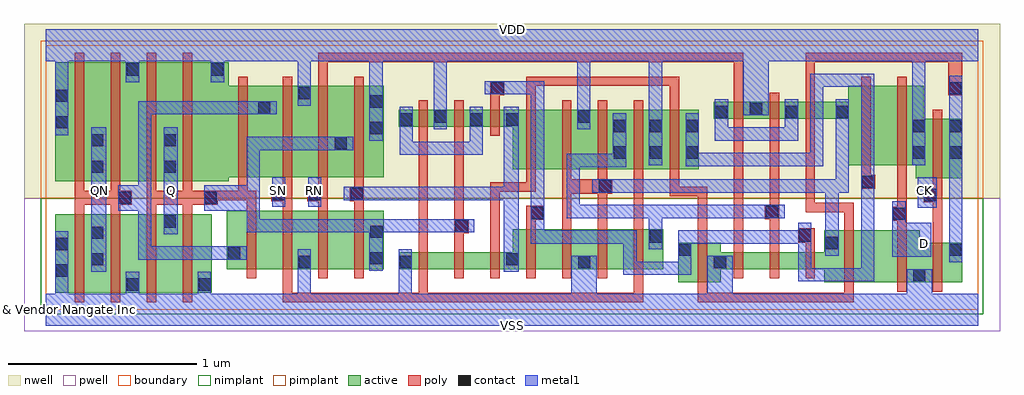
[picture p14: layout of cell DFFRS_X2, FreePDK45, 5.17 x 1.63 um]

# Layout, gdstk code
import gdstk
lib = gdstk.Library(unit=1e-6, precision=1e-10)
def R(c, l, rs):  # rectangles x0, y0, x1, y1
    for r in rs: c.add(gdstk.rectangle(r[:2], r[2:], *l))
def A(c, l, x, y, w, h, nx, ny, dx, dy):  # array of equal rectangles
    R(c, l, [(x+i*dx, y+j*dy, x+i*dx+w, y+j*dy+h) for i in range(nx) for j in range(ny)])
def P(c, l, *ps):  # polygons
    for p in ps: c.add(gdstk.Polygon(p, *l))
active = (1, 0)
pwell = (2, 0)
nwell = (3, 0)
nimplant = (4, 0)
pimplant = (5, 0)
poly = (9, 0)
contact = (10, 0)
metal1 = (11, 0)
boundary = (235, 0)

dffrs_x2 = lib.new_cell('DFFRS_X2')
R(dffrs_x2, active, [(0.05,0.09,0.88,0.505), (0.96,0.215,1.79,0.525)])
P(dffrs_x2, active, [(0.05,0.68),(0.97,0.68),(0.97,0.7),(1.79,0.7),(1.79,1.185),(0.97,1.185),(0.97,1.31),(0.05,1.31)],
  [(1.87,0.215),(3.27,0.215),(3.27,0.425),(2.475,0.425),(2.475,0.305),(1.87,0.305)],
  [(1.87,0.97),(2.475,0.97),(2.475,0.745),(3.46,0.745),(3.46,1.06),(1.87,1.06)],
  [(3.35,0.145),(3.575,0.145),(3.575,0.215),(4.125,0.215),(4.125,0.145),(4.855,0.145),(4.855,0.355),(4.63,0.355),(4.63,0.42),(4.125,0.42),(4.125,0.305),(3.575,0.305),(3.575,0.355),(3.35,0.355)],
  [(3.54,1.01),(4.25,1.01),(4.25,0.765),(4.61,0.765),(4.61,0.695),(4.855,0.695),(4.855,1.01),(4.65,1.01),(4.65,1.185),(4.25,1.185),(4.25,1.1),(3.54,1.1)])
R(dffrs_x2, pwell, [(-0.115,-0.115,5.055,0.59)])
R(dffrs_x2, nwell, [(-0.115,0.59,5.055,1.515)])
R(dffrs_x2, nimplant, [(-0.025,-0.025,4.965,0.59)])
R(dffrs_x2, pimplant, [(-0.025,0.59,4.965,1.425)])
P(dffrs_x2, poly, [(0.155,0.04),(0.205,0.04),(0.205,0.555),(0.345,0.555),(0.345,0.04),(0.395,0.04),(0.395,0.555),(0.455,0.555),(0.455,0.63),(0.395,0.63),(0.395,1.36),(0.345,1.36),(0.345,0.63),(0.205,0.63),(0.205,1.36),(0.155,1.36)],
  [(0.535,0.04),(0.585,0.04),(0.585,0.555),(0.725,0.555),(0.725,0.04),(0.775,0.04),(0.775,0.555),(0.91,0.555),(0.91,0.58),(1.065,0.58),(1.065,0.165),(1.115,0.165),(1.115,0.63),(1.07,0.63),(1.07,1.235),(1.02,1.235),(1.02,0.63),(0.775,0.63),(0.775,1.36),(0.725,1.36),(0.725,0.63),(0.585,0.63),(0.585,1.36),(0.535,1.36)],
  [(1.61,0.575),(1.635,0.575),(1.635,0.165),(1.685,0.165),(1.685,1.235),(1.635,1.235),(1.635,0.65),(1.61,0.65)],
  [(2.165,0.165),(2.215,0.165),(2.215,0.405),(2.24,0.405),(2.24,0.48),(2.215,0.48),(2.215,1.11),(2.165,1.11)],
  [(2.355,0.92),(2.405,0.92),(2.405,1.135),(2.43,1.135),(2.43,1.21),(2.355,1.21)],
  [(2.545,0.165),(2.595,0.165),(2.595,0.475),(2.64,0.475),(2.64,0.55),(2.545,0.55)],
  [(2.735,0.165),(2.785,0.165),(2.785,0.615),(2.925,0.615),(2.925,0.165),(2.975,0.165),(2.975,0.615),(3,0.615),(3,0.69),(2.975,0.69),(2.975,1.11),(2.925,1.11),(2.925,0.69),(2.785,0.69),(2.785,1.11),(2.735,1.11)],
  [(1.195,0.575),(1.255,0.575),(1.255,0.04),(3.165,0.04),(3.165,1.11),(3.115,1.11),(3.115,0.09),(2.025,0.09),(2.025,1.11),(1.975,1.11),(1.975,0.09),(1.305,0.09),(1.305,1.235),(1.255,1.235),(1.255,0.65),(1.195,0.65)],
  [(1.385,0.575),(1.445,0.575),(1.445,0.165),(1.495,0.165),(1.495,1.31),(3.645,1.31),(3.645,0.165),(3.695,0.165),(3.695,1.36),(1.445,1.36),(1.445,0.65),(1.385,0.65)],
  [(3.81,0.48),(3.835,0.48),(3.835,0.165),(3.885,0.165),(3.885,1.15),(3.835,1.15),(3.835,0.555),(3.81,0.555)],
  [(3.985,0.355),(4.025,0.355),(4.025,0.165),(4.075,0.165),(4.075,0.43),(3.985,0.43)],
  [(4.32,0.64),(4.395,0.64),(4.395,0.715),(4.37,0.715),(4.37,1.235),(4.32,1.235)],
  [(4.485,0.47),(4.51,0.47),(4.51,0.095),(4.56,0.095),(4.56,1.235),(4.51,1.235),(4.51,0.545),(4.485,0.545)],
  [(4.65,0.57),(4.7,0.57),(4.7,0.095),(4.75,0.095),(4.75,1.06),(4.7,1.06),(4.7,0.645),(4.65,0.645)],
  [(4.075,1.31),(4.78,1.31),(4.78,1.135),(4.855,1.135),(4.855,1.36),(4.025,1.36),(4.025,0.515),(4.23,0.515),(4.23,0.09),(3.505,0.09),(3.505,0.65),(3.355,0.65),(3.355,1.235),(2.545,1.235),(2.545,0.675),(2.355,0.675),(2.355,0.165),(2.405,0.165),(2.405,0.625),(2.595,0.625),(2.595,1.185),(3.305,1.185),(3.305,0.6),(3.455,0.6),(3.455,0.04),(4.28,0.04),(4.28,0.565),(4.075,0.565)])
A(dffrs_x2, contact, 3.01, 0.8, 0.065, 0.065, 3, 2, 0.19, 0.14)
R(dffrs_x2, contact, [(0.43,0.1,0.495,0.165), (0.81,0.1,0.875,0.165), (4.595,0.15,4.66,0.215), (0.055,0.175,0.12,0.24), (1.34,0.22,1.405,0.285), (1.875,0.22,1.94,0.285), (2.82,0.22,2.885,0.285), (3.54,0.22,3.605,0.285), (0.24,0.235,0.305,0.3), (2.44,0.235,2.505,0.3), (1.72,0.24,1.785,0.305), (0.965,0.265,1.03,0.33), (3.355,0.285,3.42,0.35), (4.785,0.285,4.85,0.35), (0.055,0.315,0.12,0.38), (4.13,0.32,4.195,0.385), (3.2,0.355,3.265,0.42), (3.99,0.36,4.055,0.425), (0.24,0.375,0.305,0.44), (1.72,0.38,1.785,0.445), (2.17,0.41,2.235,0.475), (0.625,0.435,0.69,0.5), (4.49,0.475,4.555,0.54), (2.57,0.48,2.635,0.545), (3.815,0.485,3.88,0.55), (0.385,0.56,0.45,0.625), (0.84,0.56,0.905,0.625), (4.655,0.575,4.72,0.64), (1.2,0.58,1.265,0.645), (1.39,0.58,1.455,0.645), (1.615,0.58,1.68,0.645), (2.93,0.62,2.995,0.685), (4.325,0.645,4.39,0.71), (0.24,0.725,0.305,0.79), (0.625,0.725,0.69,0.79), (4.595,0.8,4.66,0.865), (4.785,0.8,4.85,0.865), (1.53,0.85,1.595,0.915), (0.24,0.865,0.305,0.93), (0.625,0.865,0.69,0.93), (1.72,0.93,1.785,0.995), (4.595,0.94,4.66,1.005), (4.785,0.94,4.85,1.005), (0.055,0.96,0.12,1.025), (1.875,0.975,1.94,1.04), (2.25,0.975,2.315,1.04), (2.44,0.975,2.505,1.04), (2.06,0.99,2.125,1.055), (2.82,0.99,2.885,1.055), (3.545,1.015,3.61,1.08), (3.92,1.015,3.985,1.08), (4.185,1.015,4.25,1.08), (3.73,1.03,3.795,1.095), (1.125,1.035,1.19,1.1), (1.72,1.07,1.785,1.135), (0.055,1.1,0.12,1.165), (1.34,1.115,1.405,1.18), (2.36,1.14,2.425,1.205), (4.785,1.14,4.85,1.205), (0.43,1.24,0.495,1.305), (0.875,1.24,0.94,1.305)])
R(dffrs_x2, metal1, [(0.24,0.2,0.32,0.965), (4.785,0.25,4.855,1.24), (0.625,0.4,0.7,0.965), (4.62,0.54,4.72,0.7), (1.2,0.545,1.27,0.7), (1.39,0.545,1.46,0.7)])
P(dffrs_x2, metal1, [(0.56,1.035),(1.225,1.035),(1.225,1.105),(0.49,1.105),(0.49,0.66),(0.385,0.66),(0.385,0.525),(0.49,0.525),(0.49,0.265),(1.065,0.265),(1.065,0.335),(0.56,0.335)],
  [(0.84,0.525),(1.065,0.525),(1.065,0.41),(1.715,0.41),(1.715,0.205),(1.785,0.205),(1.785,0.41),(2.27,0.41),(2.27,0.48),(1.135,0.48),(1.135,0.845),(1.63,0.845),(1.63,0.915),(1.065,0.915),(1.065,0.66),(0.84,0.66)],
  [(1.875,0.82),(2.315,0.82),(2.315,1.075),(2.245,1.075),(2.245,0.89),(1.945,0.89),(1.945,1.075),(1.875,1.075)],
  [(1.58,0.58),(2.425,0.58),(2.425,0.2),(2.505,0.2),(2.505,1.075),(2.425,1.075),(2.425,0.65),(1.58,0.65)],
  [(2.76,0.485),(3.195,0.485),(3.195,0.32),(3.265,0.32),(3.265,0.485),(3.915,0.485),(3.915,0.555),(2.83,0.555),(2.83,0.755),(3.075,0.755),(3.075,1.04),(3.005,1.04),(3.005,0.825),(2.76,0.825)],
  [(3.545,0.895),(3.985,0.895),(3.985,1.115),(3.915,1.115),(3.915,0.965),(3.615,0.965),(3.615,1.115),(3.545,1.115)],
  [(2.895,0.62),(4.13,0.62),(4.13,0.285),(4.2,0.285),(4.2,0.62),(4.255,0.62),(4.255,1.115),(4.185,1.115),(4.185,0.69),(2.895,0.69)],
  [(3.39,0.76),(4.12,0.76),(4.12,1.18),(4.32,1.18),(4.32,0.22),(4.055,0.22),(4.055,0.46),(3.985,0.46),(3.985,0.42),(3.35,0.42),(3.35,0.255),(3.13,0.255),(3.13,0.42),(2.64,0.42),(2.64,1.21),(2.325,1.21),(2.325,1.14),(2.57,1.14),(2.57,0.35),(3.06,0.35),(3.06,0.185),(3.42,0.185),(3.42,0.35),(3.985,0.35),(3.985,0.15),(4.39,0.15),(4.39,1.25),(4.05,1.25),(4.05,0.83),(3.46,0.83),(3.46,1.04),(3.39,1.04)],
  [(4.485,0.28),(4.69,0.28),(4.69,0.46),(4.555,0.46),(4.555,0.575),(4.485,0.575)],
  [(0,-0.085),(4.94,-0.085),(4.94,0.085),(4.695,0.085),(4.695,0.215),(4.56,0.215),(4.56,0.085),(3.64,0.085),(3.64,0.285),(3.505,0.285),(3.505,0.085),(2.92,0.085),(2.92,0.285),(2.785,0.285),(2.785,0.085),(1.94,0.085),(1.94,0.32),(1.87,0.32),(1.87,0.085),(1.405,0.085),(1.405,0.32),(1.335,0.32),(1.335,0.085),(0.875,0.085),(0.875,0.2),(0.805,0.2),(0.805,0.085),(0.495,0.085),(0.495,0.2),(0.425,0.2),(0.425,0.085),(0.12,0.085),(0.12,0.415),(0.05,0.415),(0.05,0.085),(0,0.085)],
  [(0,1.315),(0.05,1.315),(0.05,0.925),(0.12,0.925),(0.12,1.315),(0.425,1.315),(0.425,1.205),(0.495,1.205),(0.495,1.315),(0.875,1.315),(0.875,1.205),(0.945,1.205),(0.945,1.315),(1.335,1.315),(1.335,1.08),(1.405,1.08),(1.405,1.315),(1.715,1.315),(1.715,0.895),(1.785,0.895),(1.785,1.315),(2.055,1.315),(2.055,0.955),(2.125,0.955),(2.125,1.315),(2.815,1.315),(2.815,0.955),(2.885,0.955),(2.885,1.315),(3.195,1.315),(3.195,0.765),(3.265,0.765),(3.265,1.315),(3.695,1.315),(3.695,1.03),(3.83,1.03),(3.83,1.315),(4.59,1.315),(4.59,0.765),(4.66,0.765),(4.66,1.315),(4.94,1.315),(4.94,1.485),(0,1.485)])
R(dffrs_x2, boundary, [(0,0,4.94,1.4)])
dffrs_x2.add(gdstk.Label('CK', (4.655,0.63), layer=11, texttype=0))
dffrs_x2.add(gdstk.Label('D', (4.655,0.35), layer=11, texttype=0))
dffrs_x2.add(gdstk.Label('Q', (0.665,0.63), layer=11, texttype=0))
dffrs_x2.add(gdstk.Label('QN', (0.285,0.63), layer=11, texttype=0))
dffrs_x2.add(gdstk.Label('RN', (1.425,0.63), layer=11, texttype=0))
dffrs_x2.add(gdstk.Label('SN', (1.235,0.63), layer=11, texttype=0))
dffrs_x2.add(gdstk.Label('VDD', (2.47,1.485), layer=11, texttype=0))
dffrs_x2.add(gdstk.Label('VSS', (2.47,-0.085), layer=11, texttype=0))
dffrs_x2.add(gdstk.Label('& Vendor Nangate Inc', (0,0), layer=63, texttype=63))
dffrs_x2.add(gdstk.Label('& Product Open Cell Library', (0,0), layer=63, texttype=63))
dffrs_x2.add(gdstk.Label('& Version 2010_12', (0,0), layer=63, texttype=63))
dffrs_x2.add(gdstk.Label('& Instance DFFRS_X2', (0,0), layer=63, texttype=63))

lib.write_gds('DFFRS_X2.gds')
